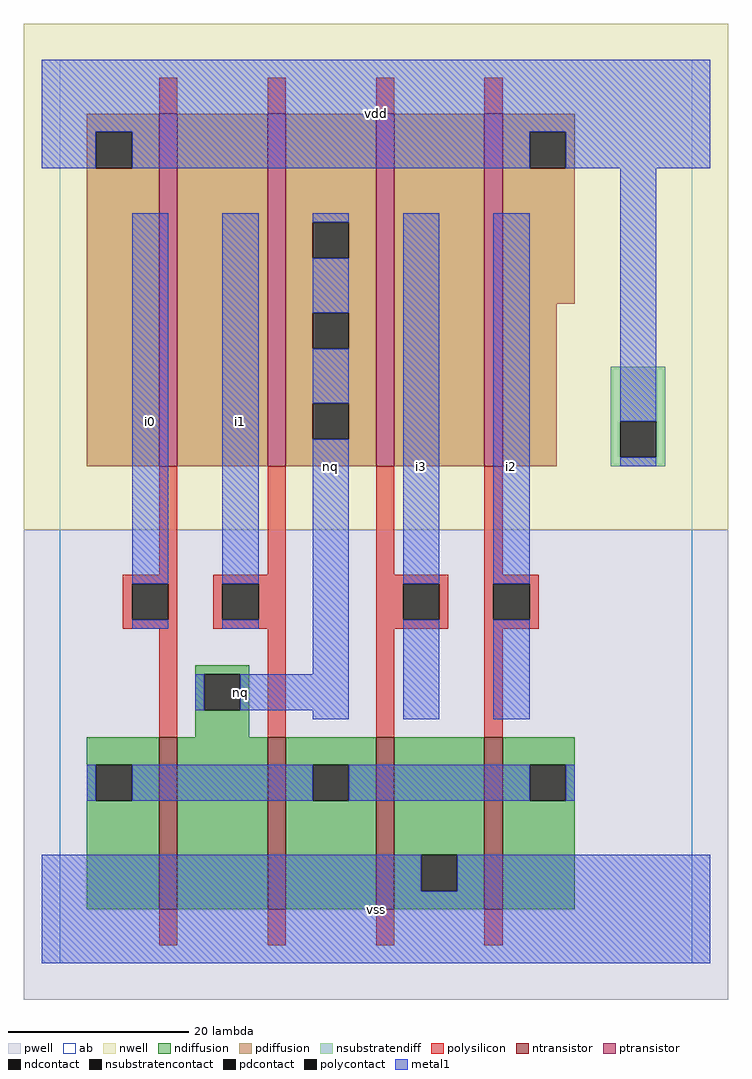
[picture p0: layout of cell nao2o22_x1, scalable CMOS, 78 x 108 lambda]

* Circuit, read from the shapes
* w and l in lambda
.subckt nao2o22_x1 i0 i1 i2 i3 nq vdd vss
M1 nq i0 n1 VSUBS nfet w=19 l=2
M2 n1 i1 nq VSUBS nfet w=19 l=2
M3 vss i3 n1 VSUBS nfet w=19 l=2
M4 n1 i2 vss VSUBS nfet w=19 l=2
M5 n2 i0 vdd vdd pfet w=39 l=2
M6 nq i1 n2 vdd pfet w=39 l=2
M7 n3 i3 nq vdd pfet w=39 l=2
M8 vdd i2 n3 vdd pfet w=39 l=2
.ends

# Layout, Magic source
magic
tech scmos
<< ab >>
rect 0 0 70 100
<< pwell >>
rect -4 -4 74 48
<< nwell >>
rect -4 48 74 104
<< polysilicon >>
rect 11 94 13 98
rect 23 94 25 98
rect 35 94 37 98
rect 47 94 49 98
rect 11 43 13 55
rect 23 43 25 55
rect 7 42 13 43
rect 7 38 8 42
rect 12 38 13 42
rect 7 37 13 38
rect 17 42 25 43
rect 17 38 18 42
rect 22 38 25 42
rect 17 37 25 38
rect 11 25 13 37
rect 23 25 25 37
rect 35 43 37 55
rect 47 43 49 55
rect 35 42 43 43
rect 35 38 38 42
rect 42 38 43 42
rect 35 37 43 38
rect 47 42 53 43
rect 47 38 48 42
rect 52 38 53 42
rect 47 37 53 38
rect 35 25 37 37
rect 47 25 49 37
rect 11 2 13 6
rect 23 2 25 6
rect 35 2 37 6
rect 47 2 49 6
<< ndiffusion >>
rect 15 32 21 33
rect 15 28 16 32
rect 20 28 21 32
rect 15 25 21 28
rect 3 22 11 25
rect 3 18 4 22
rect 8 18 11 22
rect 3 6 11 18
rect 13 6 23 25
rect 25 22 35 25
rect 25 18 28 22
rect 32 18 35 22
rect 25 6 35 18
rect 37 12 47 25
rect 37 8 40 12
rect 44 8 47 12
rect 37 6 47 8
rect 49 22 57 25
rect 49 18 52 22
rect 56 18 57 22
rect 49 6 57 18
<< pdiffusion >>
rect 3 92 11 94
rect 3 88 4 92
rect 8 88 11 92
rect 3 55 11 88
rect 13 55 23 94
rect 25 82 35 94
rect 25 78 28 82
rect 32 78 35 82
rect 25 72 35 78
rect 25 68 28 72
rect 32 68 35 72
rect 25 62 35 68
rect 25 58 28 62
rect 32 58 35 62
rect 25 55 35 58
rect 37 55 47 94
rect 49 92 57 94
rect 49 88 52 92
rect 56 88 57 92
rect 49 73 57 88
rect 49 55 55 73
<< metal1 >>
rect -2 92 72 100
rect -2 88 4 92
rect 8 88 52 92
rect 56 88 72 92
rect 8 42 12 83
rect 8 37 12 38
rect 18 42 22 83
rect 18 37 22 38
rect 28 82 32 83
rect 28 72 32 78
rect 28 62 32 68
rect 28 32 32 58
rect 15 28 16 32
rect 20 28 32 32
rect 28 27 32 28
rect 38 42 42 83
rect 38 27 42 38
rect 48 42 52 83
rect 62 60 66 88
rect 62 55 66 56
rect 48 27 52 38
rect 3 18 4 22
rect 8 18 28 22
rect 32 18 52 22
rect 56 18 57 22
rect -2 8 40 12
rect 44 8 72 12
rect -2 0 72 8
<< ntransistor >>
rect 11 6 13 25
rect 23 6 25 25
rect 35 6 37 25
rect 47 6 49 25
<< ptransistor >>
rect 11 55 13 94
rect 23 55 25 94
rect 35 55 37 94
rect 47 55 49 94
<< polycontact >>
rect 8 38 12 42
rect 18 38 22 42
rect 38 38 42 42
rect 48 38 52 42
<< ndcontact >>
rect 16 28 20 32
rect 4 18 8 22
rect 28 18 32 22
rect 40 8 44 12
rect 52 18 56 22
<< pdcontact >>
rect 4 88 8 92
rect 28 78 32 82
rect 28 68 32 72
rect 28 58 32 62
rect 52 88 56 92
<< nsubstratencontact >>
rect 62 56 66 60
<< nsubstratendiff >>
rect 61 60 67 66
rect 61 56 62 60
rect 66 56 67 60
rect 61 55 67 56
<< labels >>
rlabel metal1 10 60 10 60 6 i0
rlabel metal1 20 30 20 30 6 nq
rlabel metal1 20 60 20 60 6 i1
rlabel metal1 30 55 30 55 6 nq
rlabel metal1 35 6 35 6 6 vss
rlabel metal1 40 55 40 55 6 i3
rlabel metal1 50 55 50 55 6 i2
rlabel metal1 35 94 35 94 6 vdd
<< end >>
